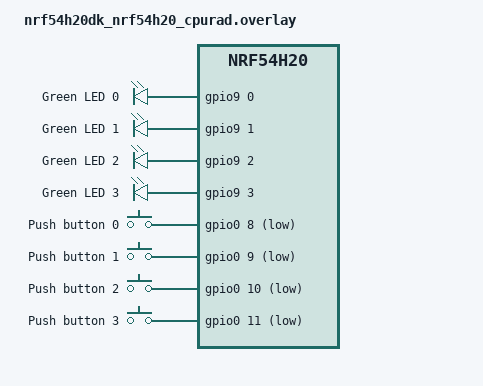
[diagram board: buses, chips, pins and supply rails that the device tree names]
/*
 * Copyright (c) 2024 Nordic Semiconductor ASA
 *
 * SPDX-License-Identifier: LicenseRef-Nordic-5-Clause
 */

/ {
	leds {
		compatible = "gpio-leds";
		led0: led_0 {
			gpios = <&gpio9 0 GPIO_ACTIVE_HIGH>;
			label = "Green LED 0";
		};
		led1: led_1 {
			gpios = <&gpio9 1 GPIO_ACTIVE_HIGH>;
			label = "Green LED 1";
		};
		led2: led_2 {
			gpios = <&gpio9 2 GPIO_ACTIVE_HIGH>;
			label = "Green LED 2";
		};
		led3: led_3 {
			gpios = <&gpio9 3 GPIO_ACTIVE_HIGH>;
			label = "Green LED 3";
		};
	};

	buttons {
		compatible = "gpio-keys";
		button0: button_0 {
			gpios = <&gpio0 8 (GPIO_PULL_UP | GPIO_ACTIVE_LOW)>;
			label = "Push button 0";
		};
		button1: button_1 {
			gpios = <&gpio0 9 (GPIO_PULL_UP | GPIO_ACTIVE_LOW)>;
			label = "Push button 1";
		};
		button2: button_2 {
			gpios = <&gpio0 10 (GPIO_PULL_UP | GPIO_ACTIVE_LOW)>;
			label = "Push button 2";
		};
		button3: button_3 {
			gpios = <&gpio0 11 (GPIO_PULL_UP | GPIO_ACTIVE_LOW)>;
			label = "Push button 3";
		};
	};

	aliases {
		led0 = &led0;
		led1 = &led1;
		led2 = &led2;
		led3 = &led3;
		sw0 = &button0;
		sw1 = &button1;
		sw2 = &button2;
		sw3 = &button3;
	};

	chosen {
		zephyr,shell-ipc = &ipc0;
	};
};

&gpio9 {
	status = "okay";
};

&gpio0 {
	status = "okay";
};

&gpiote130 {
	status = "okay";
};

&uart135 {
	status = "disabled";
};
